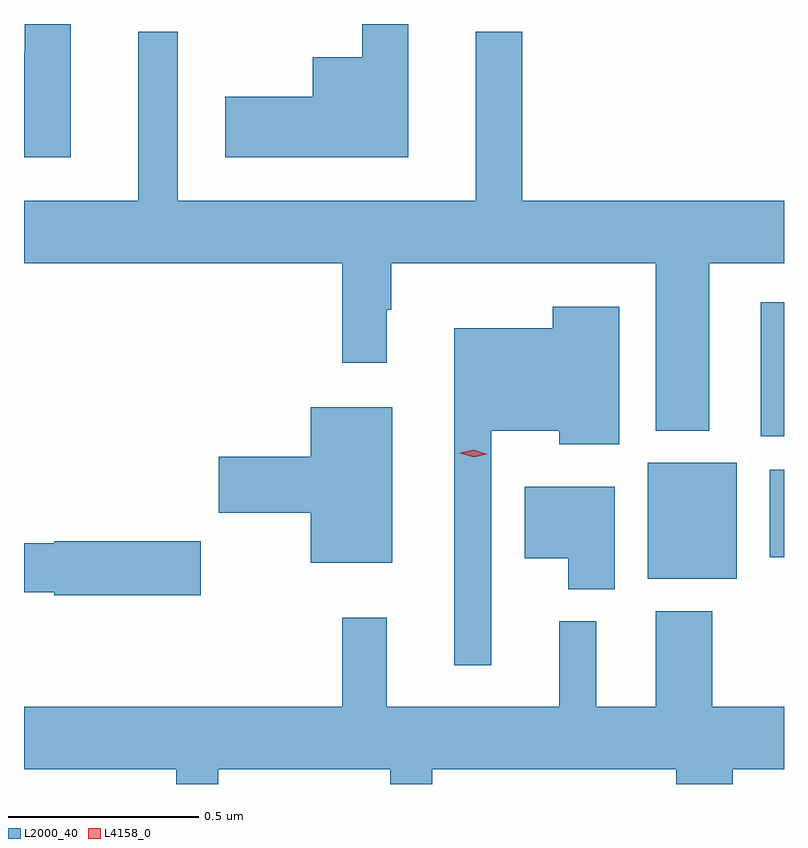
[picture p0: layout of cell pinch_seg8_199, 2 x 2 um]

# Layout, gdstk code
import gdstk
lib = gdstk.Library(unit=1e-6, precision=1e-09)
def R(c, l, rs):  # rectangles x0, y0, x1, y1
    for r in rs: c.add(gdstk.rectangle(r[:2], r[2:], *l))
def P(c, l, *ps):  # polygons
    for p in ps: c.add(gdstk.Polygon(p, *l))
L2000_40 = (2000, 40)
L4158_0 = (4158, 0)

pinch_seg8_199 = lib.new_cell('pinch_seg8_199')
R(pinch_seg8_199, L2000_40, [(690.83,1139.645,691.063,1139.95), (691.151,1139.702,691.188,1139.932), (691.127,1140.02,691.188,1140.373)])
P(pinch_seg8_199, L2000_40, [(689.311,1141.105),(689.19,1141.105),(689.19,1141.031),(689.188,1141.031),(689.188,1140.755),(689.311,1140.755)],
  [(690.199,1141.105),(690.078,1141.105),(690.078,1141.018),(689.948,1141.018),(689.948,1140.913),(689.718,1140.913),(689.718,1140.755),(690.199,1140.755)],
  [(690.991,1140.476),(691.188,1140.476),(691.188,1140.64),(690.499,1140.64),(690.499,1141.084),(690.377,1141.084),(690.377,1140.64),(689.593,1140.64),(689.593,1141.084),(689.489,1141.084),(689.489,1140.64),(689.188,1140.64),(689.188,1140.476),(690.025,1140.476),(690.025,1140.213),(690.142,1140.213),(690.142,1140.353),(690.154,1140.353),(690.154,1140.476),(690.851,1140.476),(690.851,1140.035),(690.991,1140.035)],
  [(690.417,1140.035),(690.596,1140.035),(690.596,1139.999),(690.754,1139.999),(690.754,1140.361),(690.579,1140.361),(690.579,1140.304),(690.32,1140.304),(690.32,1139.418),(690.417,1139.418)],
  [(690.157,1140.097),(689.942,1140.097),(689.942,1139.966),(689.7,1139.966),(689.7,1139.819),(689.942,1139.819),(689.942,1139.687),(690.157,1139.687)],
  [(690.742,1139.887),(690.506,1139.887),(690.506,1139.699),(690.62,1139.699),(690.62,1139.618),(690.742,1139.618)],
  [(689.653,1139.744),(689.268,1139.744),(689.268,1139.738),(689.188,1139.738),(689.188,1139.61),(689.268,1139.61),(689.268,1139.602),(689.653,1139.602)],
  [(689.699,1139.144),(690.152,1139.144),(690.152,1139.105),(690.262,1139.105),(690.262,1139.144),(690.905,1139.144),(690.905,1139.105),(691.053,1139.105),(691.053,1139.144),(691.188,1139.144),(691.188,1139.308),(690.999,1139.308),(690.999,1139.56),(690.851,1139.56),(690.851,1139.308),(690.694,1139.308),(690.694,1139.533),(690.596,1139.533),(690.596,1139.308),(690.143,1139.308),(690.143,1139.542),(690.025,1139.542),(690.025,1139.308),(689.188,1139.308),(689.188,1139.144),(689.589,1139.144),(689.589,1139.105),(689.699,1139.105)])
P(pinch_seg8_199, L4158_0, [(690.371,1139.965),(690.336,1139.976),(690.336,1139.976),(690.336,1139.977),(690.372,1139.985),(690.407,1139.973),(690.407,1139.973),(690.407,1139.973)])

lib.write_gds('pinch_seg8_199.gds')
